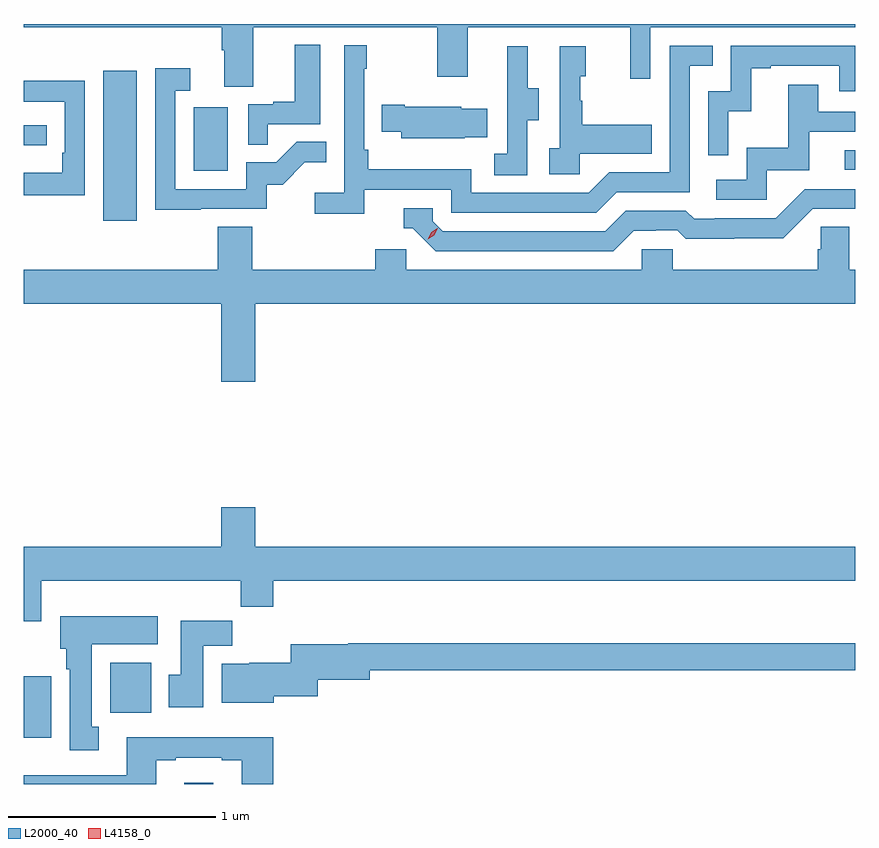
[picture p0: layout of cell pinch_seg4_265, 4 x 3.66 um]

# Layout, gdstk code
import gdstk
lib = gdstk.Library(unit=1e-6, precision=1e-09)
def R(c, l, rs):  # rectangles x0, y0, x1, y1
    for r in rs: c.add(gdstk.rectangle(r[:2], r[2:], *l))
def P(c, l, *ps):  # polygons
    for p in ps: c.add(gdstk.Polygon(p, *l))
L2000_40 = (2000, 40)
L4158_0 = (4158, 0)

pinch_seg4_265 = lib.new_cell('pinch_seg4_265')
R(pinch_seg4_265, L2000_40, [(944.051,829.142,944.191,829.147), (943.279,829.364,943.411,829.66), (943.694,829.484,943.891,829.726), (943.661,831.852,943.822,832.573), (944.096,832.092,944.26,832.399), (947.229,832.098,947.279,832.191), (943.279,832.215,943.39,832.311)])
P(pinch_seg4_265, L2000_40, [(944.383,832.784),(945.268,832.784),(945.268,832.545),(945.415,832.545),(945.415,832.784),(946.196,832.784),(946.196,832.536),(946.293,832.536),(946.293,832.784),(947.279,832.784),(947.279,832.799),(943.279,832.799),(943.279,832.784),(944.231,832.784),(944.231,832.672),(944.243,832.672),(944.243,832.498),(944.383,832.498)],
  [(944.453,832.317),(944.704,832.317),(944.704,832.699),(944.582,832.699),(944.582,832.426),(944.479,832.426),(944.479,832.413),(944.358,832.413),(944.358,832.219),(944.453,832.219)],
  [(944.918,832.002),(945.336,832.002),(945.336,831.891),(946.033,831.891),(946.132,831.99),(946.482,831.99),(946.482,832.599),(946.595,832.599),(946.595,832.695),(946.386,832.695),(946.386,832.086),(946.095,832.086),(945.996,831.987),(945.432,831.987),(945.432,832.099),(944.936,832.099),(944.936,832.195),(944.916,832.195),(944.916,832.583),(944.929,832.583),(944.929,832.696),(944.82,832.696),(944.82,831.988),(944.679,831.988),(944.679,831.886),(944.918,831.886)],
  [(946.668,832.379),(946.778,832.379),(946.778,832.587),(946.873,832.587),(946.873,832.599),(947.202,832.599),(947.202,832.476),(947.279,832.476),(947.279,832.695),(946.68,832.695),(946.68,832.476),(946.572,832.476),(946.572,832.167),(946.668,832.167)],
  [(945.954,832.175),(946.301,832.175),(946.301,832.315),(945.967,832.315),(945.967,832.43),(945.957,832.43),(945.957,832.548),(945.982,832.548),(945.982,832.693),(945.858,832.693),(945.858,832.202),(945.807,832.202),(945.807,832.077),(945.954,832.077)],
  [(945.702,832.336),(945.757,832.336),(945.757,832.491),(945.703,832.491),(945.703,832.693),(945.605,832.693),(945.605,832.479),(945.606,832.479),(945.606,832.175),(945.543,832.175),(945.543,832.072),(945.702,832.072)],
  [(944.129,831.909),(944.448,831.909),(944.448,832.026),(944.524,832.026),(944.631,832.133),(944.735,832.133),(944.735,832.232),(944.592,832.232),(944.494,832.134),(944.349,832.134),(944.349,832.005),(944.007,832.005),(944.007,832.479),(944.08,832.479),(944.08,832.585),(943.911,832.585),(943.911,831.904),(944.129,831.904)],
  [(943.572,832.526),(943.279,832.526),(943.279,832.425),(943.476,832.425),(943.476,832.18),(943.463,832.18),(943.463,832.084),(943.279,832.084),(943.279,831.975),(943.572,831.975)],
  [(946.854,832.095),(947.059,832.095),(947.059,832.281),(947.279,832.281),(947.279,832.377),(947.101,832.377),(947.101,832.507),(946.957,832.507),(946.957,832.204),(946.758,832.204),(946.758,832.05),(946.611,832.05),(946.611,831.954),(946.854,831.954)],
  [(945.401,832.253),(945.509,832.253),(945.509,832.39),(945.384,832.39),(945.384,832.402),(945.112,832.402),(945.112,832.41),(945.001,832.41),(945.001,832.28),(945.095,832.28),(945.095,832.25),(945.401,832.25)],
  [(946.213,831.804),(946.32,831.804),(946.32,831.807),(946.423,831.807),(946.465,831.765),(946.698,831.765),(946.698,831.767),(946.934,831.767),(947.076,831.909),(947.279,831.909),(947.279,832.005),(947.037,832.005),(946.896,831.864),(946.603,831.864),(946.603,831.861),(946.504,831.861),(946.465,831.9),(946.176,831.9),(946.077,831.801),(945.294,831.801),(945.246,831.849),(945.246,831.912),(945.107,831.912),(945.107,831.816),(945.15,831.816),(945.261,831.705),(946.114,831.705)],
  [(944.392,831.452),(947.279,831.452),(947.279,831.616),(947.25,831.616),(947.25,831.824),(947.113,831.824),(947.113,831.714),(947.099,831.714),(947.099,831.616),(946.401,831.616),(946.401,831.714),(946.251,831.714),(946.251,831.616),(945.12,831.616),(945.12,831.714),(944.969,831.714),(944.969,831.616),(944.378,831.616),(944.378,831.824),(944.213,831.824),(944.213,831.616),(943.279,831.616),(943.279,831.452),(944.228,831.452),(944.228,831.078),(944.392,831.078)],
  [(943.363,830.12),(944.323,830.12),(944.323,829.996),(944.48,829.996),(944.48,830.12),(947.279,830.12),(947.279,830.284),(944.392,830.284),(944.392,830.473),(944.228,830.473),(944.228,830.284),(943.279,830.284),(943.279,829.926),(943.363,829.926)],
  [(943.639,829.418),(943.606,829.418),(943.606,829.814),(943.924,829.814),(943.924,829.948),(943.454,829.948),(943.454,829.794),(943.484,829.794),(943.484,829.694),(943.499,829.694),(943.499,829.305),(943.639,829.305)],
  [(944.143,829.808),(944.282,829.808),(944.282,829.927),(944.033,829.927),(944.033,829.668),(943.976,829.668),(943.976,829.512),(944.143,829.512)],
  [(944.482,829.565),(944.692,829.565),(944.692,829.643),(944.944,829.643),(944.944,829.69),(947.279,829.69),(947.279,829.819),(944.84,829.819),(944.84,829.815),(944.564,829.815),(944.564,829.726),(944.364,829.726),(944.364,829.72),(944.231,829.72),(944.231,829.532),(944.482,829.532)],
  [(943.915,829.257),(944.011,829.257),(944.011,829.269),(944.231,829.269),(944.231,829.257),(944.327,829.257),(944.327,829.142),(944.48,829.142),(944.48,829.366),(943.775,829.366),(943.775,829.185),(943.279,829.185),(943.279,829.142),(943.915,829.142)])
P(pinch_seg4_265, L4158_0, [(945.222,831.763),(945.222,831.764),(945.239,831.796),(945.269,831.815),(945.27,831.815),(945.27,831.815),(945.253,831.783),(945.223,831.763)])

lib.write_gds('pinch_seg4_265.gds')
